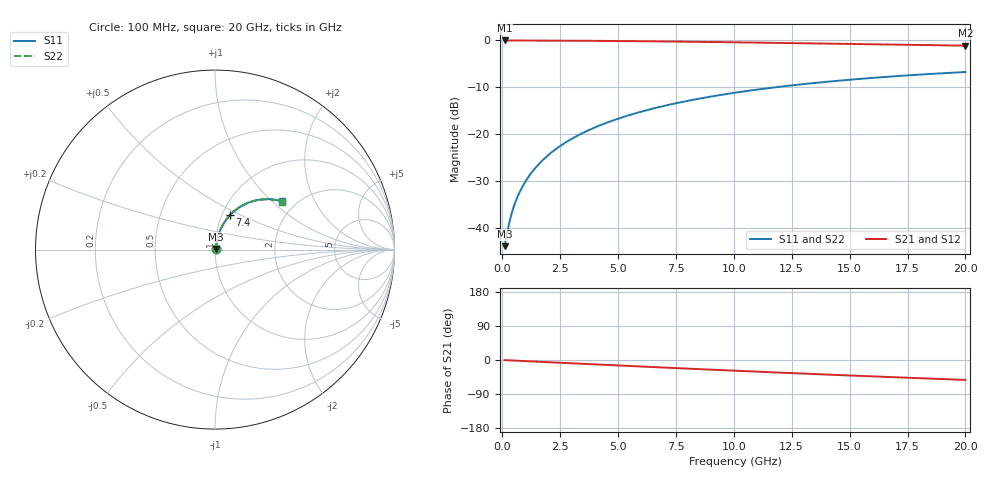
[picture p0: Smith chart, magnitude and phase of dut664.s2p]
! Touchstone file exported from HFSS 2026.1.0
!  File:  C:/ffzhzh/LocalFiles/Ansys_Project_Files/temp_train_BSMRDL_664_1783017233_4048.aedt
!  Generated:  02:35:18 AM Jul  3, 2026
!  Design:  BSMRDL
!  Project:  temp_train_BSMRDL_664_1783017233_4048
! Variables:
!  h_bsmrdl = 2.48um
!  h_ox = 20um
!  h_rdl = 5um
!  h_sub = 80um
!  h_tmrdl = 5um
!  h_tsv = 80um
!  h_via = 3um
!  l_bsmrdl = 792.51um
!  l_sub = 1192.51um
!  l_tmrdl = 200um
!  m_sub = 200um
!  pitch = 46.97um
!  r_tsv = 6um
!  s_tmrdl = 10um
!  w_bsmrdl = 21.44um
!  w_sub = 500um
!  w_tmrdl = 12um
!  x_tsv_center1 = 206um
!  x_tsv_center2 = 1019.95um
!  x_tsv_center3 = 1231.95um
!  x_tsv_center4 = 2045.9um
!  x_tsv_center5 = 2257.9um
!  x_tsv_center6 = 3071.85um
# GHz S MA R 50.000000
! Terminal data exported
! Port[1] = BSM_RDL1_1_T1
! Port[2] = BSM_RDL1_1_T2
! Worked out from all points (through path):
!   200 points, 100 MHz to 20 GHz, reference 50 ohm
!   highest |S21| = -0.05 dB at 100 MHz (marker M1); lowest = -1.2 dB at 20 GHz (marker M2)
!   group delay of S21, straight-line fit = 7.32 ps
!   lowest |S11| = -43.9 dB at 100 MHz (marker M3), VSWR 1.01, Z = 50.6 + j0.331 ohm
!   |S11| at or under -10 dB: start of sweep to 11.84 GHz
!   |S22| runs from -43.9 to -6.8 dB; largest |S21 - S12| = 4.1e-15
!   S11 on the Smith chart (normalised r, x): 100 MHz: 1.01, +0.01; 7.4 GHz: 1.09, +0.44; 20 GHz: 1.68, +1.15
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0.1  0.006391 30.8  0.9945 -0.3  0.9945 -0.3  0.006391 30.8
! Gamma 0 0 0 0
! Port Impedance 50 0 50 0
0.2  0.008629 48.7  0.9944 -0.6  0.9944 -0.6  0.008629 48.7
0.3  0.01132 58.1  0.9941 -0.9  0.9941 -0.9  0.01132 58.1
0.4  0.01414 63.5  0.9939 -1.2  0.9939 -1.2  0.01414 63.5
0.5  0.01699 66.9  0.9936 -1.5  0.9936 -1.5  0.01699 66.9
0.6  0.01984 69.3  0.9934 -1.8  0.9934 -1.8  0.01984 69.3
0.8  0.02554 72.4  0.993 -2.4  0.993 -2.4  0.02554 72.4
1.1  0.03413 75.0  0.9925 -3.2  0.9925 -3.2  0.03413 75.0
1.3  0.03989 76.0  0.9922 -3.8  0.9922 -3.8  0.03989 76.0
1.6  0.04855 76.8  0.9917 -4.7  0.9917 -4.7  0.04856 76.8
2.1  0.06305 77.2  0.9907 -6.1  0.9907 -6.1  0.06305 77.2
2.7  0.08043 76.8  0.9893 -7.9  0.9893 -7.9  0.08043 76.7
3.5  0.1035 75.6  0.9869 -10.2  0.9869 -10.2  0.1035 75.5
4.2  0.1234 74.2  0.9844 -12.2  0.9844 -12.2  0.1234 74.1
5  0.1458 72.4  0.981 -14.4  0.981 -14.4  0.1458 72.3
6.8  0.1947 67.9  0.9718 -19.5  0.9718 -19.5  0.1947 67.8
7.4  0.2104 66.4  0.9683 -21.1  0.9683 -21.1  0.2105 66.3
8.7  0.2434 63.1  0.9601 -24.7  0.9601 -24.7  0.2434 62.9
10.1  0.2771 59.5  0.9504 -28.4  0.9504 -28.4  0.2771 59.3
13.4  0.3487 51.3  0.9255 -36.9  0.9255 -36.9  0.3487 51.1
16.7  0.4091 43.5  0.8999 -45.0  0.8999 -45.0  0.4091 43.2
20  0.4585 36.1  0.8756 -52.6  0.8756 -52.6  0.4585 35.7
